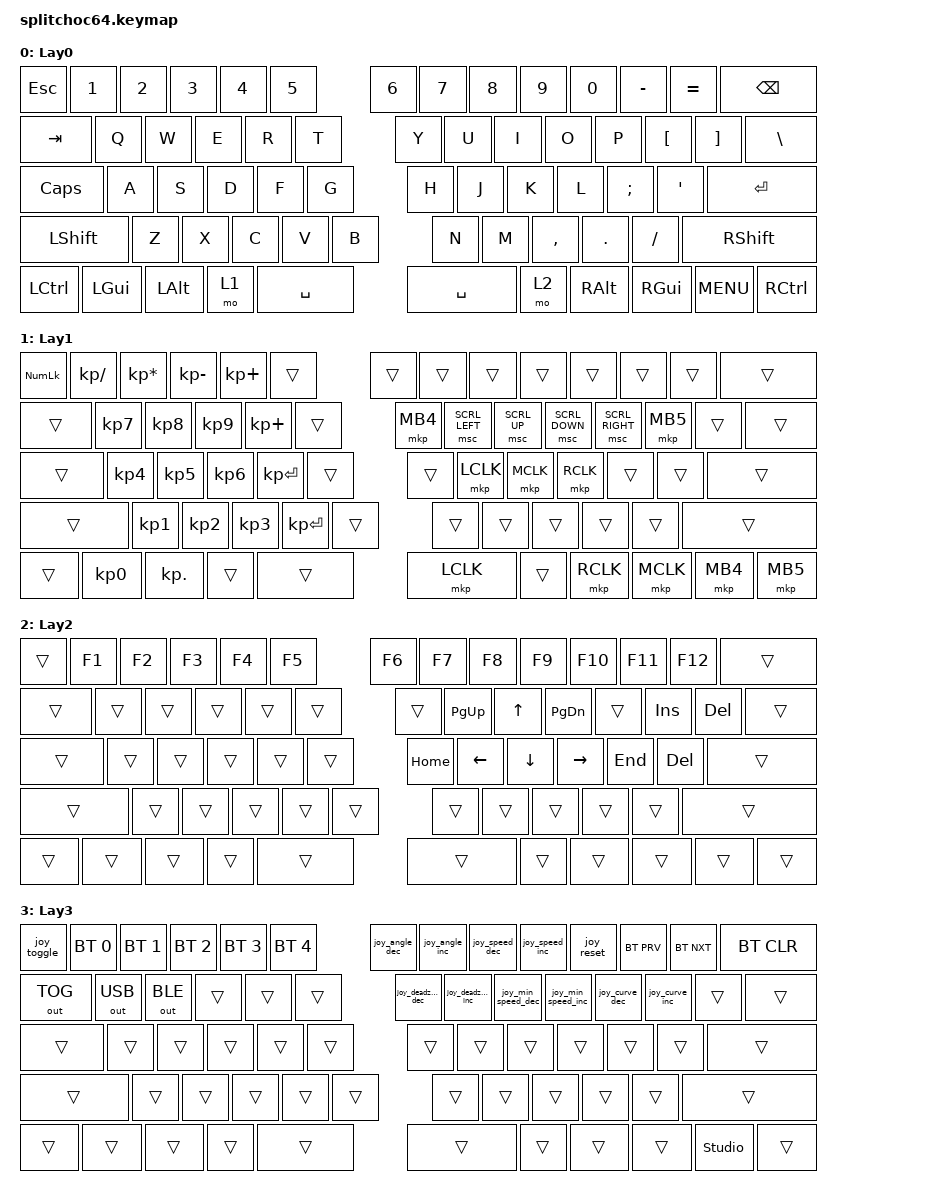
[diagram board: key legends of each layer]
#include <behaviors.dtsi>
#include <dt-bindings/zmk/keys.h>
#include <dt-bindings/zmk/bt.h>
#include <dt-bindings/zmk/outputs.h>
#include <dt-bindings/zmk/pointing.h>

/ {
    keymap {
        compatible = "zmk,keymap";

        lay0 {
            display-name = "Lay0";
            bindings = <
            &kp ESC &kp N1 &kp N2 &kp N3 &kp N4 &kp N5 &kp N6 &kp N7 &kp N8 &kp N9 &kp N0 &kp MINUS &kp EQUAL &kp BSPC
            &kp TAB &kp Q &kp W &kp E &kp R &kp T &kp Y &kp U &kp I &kp O &kp P &kp LBKT &kp RBKT &kp BSLH
            &kp CAPS &kp A &kp S &kp D &kp F &kp G &kp H &kp J &kp K &kp L &kp SEMI &kp SQT &kp ENTER
            &kp LSHIFT &kp Z &kp X &kp C &kp V &kp B &kp N &kp M &kp COMMA &kp DOT &kp FSLH &kp RSHIFT
            &kp LCTRL &kp LGUI &kp LALT &mo 1 &kp SPACE &kp SPACE &mo 2 &kp RALT &kp RGUI &kp K_MENU &kp RCTRL
            >;
        };

        lay1 {
            display-name = "Lay1";
            /*
             * Hold the left Fn key for a left-hand numpad and right-hand
             * mouse buttons/scroll controls.
             */
            bindings = <
            &kp KP_NUM &kp KP_SLASH &kp KP_MULTIPLY &kp KP_MINUS &kp KP_PLUS &trans &trans &trans &trans &trans &trans &trans &trans &trans
            &trans &kp KP_N7 &kp KP_N8 &kp KP_N9 &kp KP_PLUS &trans &mkp MB4 &msc SCRL_LEFT &msc SCRL_UP &msc SCRL_DOWN &msc SCRL_RIGHT &mkp MB5 &trans &trans
            &trans &kp KP_N4 &kp KP_N5 &kp KP_N6 &kp KP_ENTER &trans &trans &mkp LCLK &mkp MCLK &mkp RCLK &trans &trans &trans
            &trans &kp KP_N1 &kp KP_N2 &kp KP_N3 &kp KP_ENTER &trans &trans &trans &trans &trans &trans &trans
            &trans &kp KP_N0 &kp KP_DOT &trans &trans &mkp LCLK &trans &mkp RCLK &mkp MCLK &mkp MB4 &mkp MB5
            >;
        };

        lay2 {
            display-name = "Lay2";
            /*
             * Hold the right Fn key for F1-F12 and right-hand navigation.
             * I/J/K/L form an inverted-T arrow cluster.
             */
            bindings = <
            &trans &kp F1 &kp F2 &kp F3 &kp F4 &kp F5 &kp F6 &kp F7 &kp F8 &kp F9 &kp F10 &kp F11 &kp F12 &trans
            &trans &trans &trans &trans &trans &trans &trans &kp PG_UP &kp UP &kp PG_DN &trans &kp INS &kp DEL &trans
            &trans &trans &trans &trans &trans &trans &kp HOME &kp LEFT &kp DOWN &kp RIGHT &kp END &kp DEL &trans
            &trans &trans &trans &trans &trans &trans &trans &trans &trans &trans &trans &trans
            &trans &trans &trans &trans &trans &trans &trans &trans &trans &trans &trans
            >;
        };

        lay3 {
            display-name = "Lay3";
            /*
             * Activated only while Lay1 and Lay2 are both active.
             * Bluetooth profile numbers shown to the user are 1..5,
             * while BT_SEL arguments are zero-based 0..4.
             */
            bindings = <
            &joy_toggle &bt BT_SEL 0 &bt BT_SEL 1 &bt BT_SEL 2 &bt BT_SEL 3 &bt BT_SEL 4 &joy_angle_dec &joy_angle_inc &joy_speed_dec &joy_speed_inc &joy_reset &bt BT_PRV &bt BT_NXT &bt BT_CLR
            &out OUT_TOG &out OUT_USB &out OUT_BLE &trans &trans &trans &joy_deadzone_dec &joy_deadzone_inc &joy_min_speed_dec &joy_min_speed_inc &joy_curve_dec &joy_curve_inc &trans &trans
            &trans &trans &trans &trans &trans &trans &trans &trans &trans &trans &trans &trans &trans
            &trans &trans &trans &trans &trans &trans &trans &trans &trans &trans &trans &trans
            &trans &trans &trans &trans &trans &trans &trans &trans &trans &studio_unlock &trans
            >;
        };
    };

    conditional_layers {
        compatible = "zmk,conditional-layers";

        lay3_when_both_fn_held {
            if-layers = <1 2>;
            then-layer = <3>;
        };
    };
};
